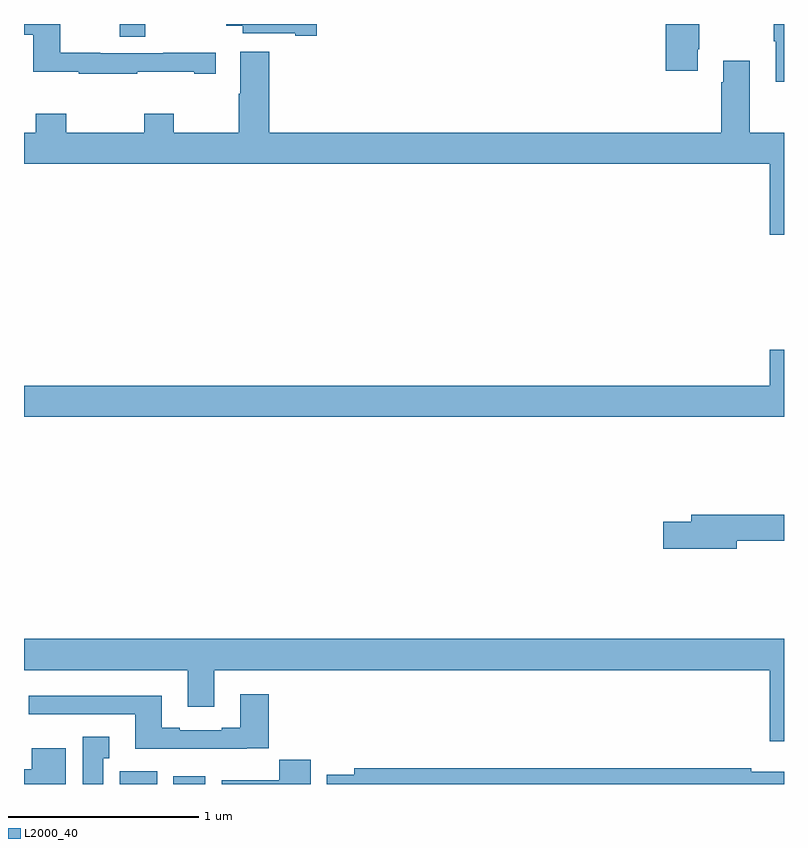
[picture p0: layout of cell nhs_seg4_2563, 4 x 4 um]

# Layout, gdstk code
import gdstk
lib = gdstk.Library(unit=1e-6, precision=1e-09)
def R(c, l, rs):  # rectangles x0, y0, x1, y1
    for r in rs: c.add(gdstk.rectangle(r[:2], r[2:], *l))
def P(c, l, *ps):  # polygons
    for p in ps: c.add(gdstk.Polygon(p, *l))
L2000_40 = (2000, 40)

nhs_seg4_2563 = lib.new_cell('nhs_seg4_2563')
R(nhs_seg4_2563, L2000_40, [(245.504,782.9,245.701,782.968), (245.786,782.9,245.953,782.941), (245.504,786.832,245.638,786.9)])
P(nhs_seg4_2563, L2000_40, [(248.545,786.766),(248.553,786.766),(248.553,786.9),(248.378,786.9),(248.378,786.654),(248.545,786.654)],
  [(245.597,786.649),(245.897,786.649),(245.897,786.639),(246.01,786.639),(246.01,786.749),(245.734,786.749),(245.734,786.747),(245.4,786.747),(245.4,786.748),(245.19,786.748),(245.19,786.9),(245,786.9),(245,786.844),(245.048,786.844),(245.048,786.649),(245.287,786.649),(245.287,786.639),(245.597,786.639)],
  [(246.541,786.9),(246.065,786.9),(246.065,786.89),(246.152,786.89),(246.152,786.851),(246.428,786.851),(246.428,786.839),(246.541,786.839)],
  [(249,786.9),(248.946,786.9),(248.946,786.809),(248.957,786.809),(248.957,786.597),(249,786.597)],
  [(249,786.328),(248.821,786.328),(248.821,786.706),(248.681,786.706),(248.681,786.593),(248.669,786.593),(248.669,786.328),(246.29,786.328),(246.29,786.754),(246.137,786.754),(246.137,786.533),(246.13,786.533),(246.13,786.328),(245.787,786.328),(245.787,786.427),(245.632,786.427),(245.632,786.328),(245.223,786.328),(245.223,786.427),(245.063,786.427),(245.063,786.328),(245,786.328),(245,786.164),(248.924,786.164),(248.924,785.79),(249,785.79)],
  [(249,785.185),(248.924,785.185),(248.924,784.996),(245,784.996),(245,784.832),(249,784.832)],
  [(248.752,784.18),(249,784.18),(249,784.316),(248.513,784.316),(248.513,784.28),(248.364,784.28),(248.364,784.138),(248.752,784.138)],
  [(249,783.664),(245,783.664),(245,783.5),(245.861,783.5),(245.861,783.306),(246.001,783.306),(246.001,783.5),(248.924,783.5),(248.924,783.126),(249,783.126)],
  [(246.173,783.087),(246.289,783.087),(246.289,783.373),(246.137,783.373),(246.137,783.196),(246.041,783.196),(246.041,783.183),(245.821,783.183),(245.821,783.196),(245.725,783.196),(245.725,783.364),(245.025,783.364),(245.025,783.267),(245.585,783.267),(245.585,783.086),(246.173,783.086)],
  [(245.416,783.035),(245.449,783.035),(245.449,783.148),(245.309,783.148),(245.309,782.9),(245.416,782.9)],
  [(245.221,783.088),(245.042,783.088),(245.042,782.978),(245,782.978),(245,782.9),(245.221,782.9)],
  [(246.508,783.028),(246.343,783.028),(246.343,782.92),(246.041,782.92),(246.041,782.9),(246.508,782.9)],
  [(249,782.965),(248.828,782.965),(248.828,782.984),(246.737,782.984),(246.737,782.948),(246.593,782.948),(246.593,782.9),(249,782.9)])

lib.write_gds('nhs_seg4_2563.gds')
